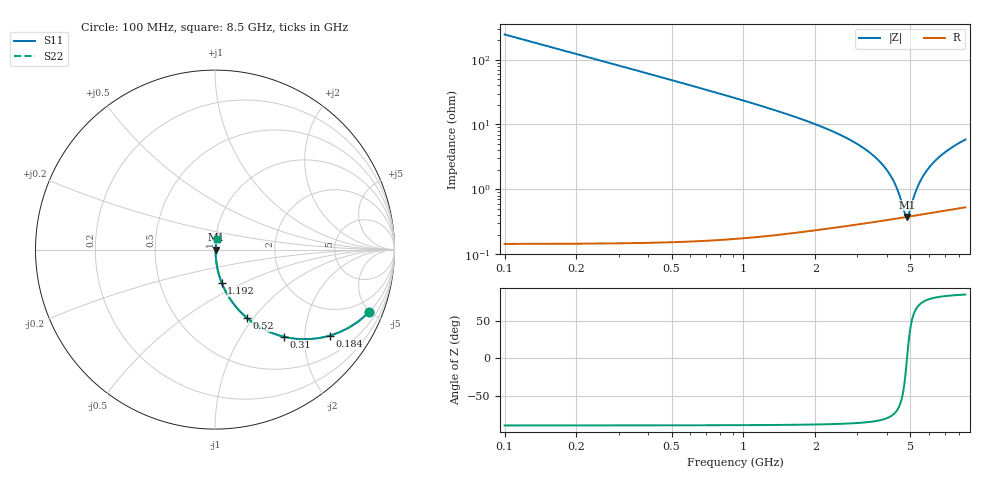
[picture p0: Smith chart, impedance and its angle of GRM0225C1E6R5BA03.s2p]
!Murata Part Number: GRM0225C1E6R5BA03
!These Parameters are Measured in Series Mode Connection
!Data Generated on Mar 30, 2021
!  o--ll--o
!Port1  Port2
!  o------o
!Operation Temp=25[degC], DC Bias Voltage=0[V]
!Freq. Start=100[MHz] Stop=9[GHz] 401[Steps]
# Hz S RI R 50
!Freq.(Hz) S11(Real) S11(Imag) S21(Real) S21(Imag) S12(Real) S12(Imag) S22(Real) S22(Imag)
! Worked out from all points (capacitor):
!   401 points, 100 MHz to 8.5 GHz, reference 50 ohm
!   read as one part in series: C = 6.5 pF near 142 MHz
!   lowest |Z| = 375 mohm at 4.846 GHz (marker M1)
!   series resonance near 4.841 GHz, so ESL is about 170 pH
!   S11 on the Smith chart (normalised r, x): 100 MHz: 1.00, -4.89; 184 MHz: 1.00, -2.66; 310 MHz: 1.00, -1.57; 520 MHz: 1.00, -0.93; 1.192 GHz: 1.00, -0.38; 8.5 GHz: 1.01, +0.12
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1e8  0.8568 -0.35  0.1432 0.35  0.1432 0.35  0.8568 -0.35
1.84e8  0.6382 -0.48  0.3618 0.48  0.3618 0.48  0.6382 -0.48
3.1e8  0.3823 -0.485  0.6177 0.485  0.6177 0.485  0.3823 -0.485
4.15e8  0.2558 -0.435  0.7442 0.435  0.7442 0.435  0.2558 -0.435
5.2e8  0.1787 -0.3814  0.8213 0.3814  0.8213 0.3814  0.1787 -0.3814
7.72e8  0.0882 -0.281  0.9118 0.281  0.9118 0.281  0.0882 -0.281
1.192e9  0.0373 -0.1848  0.9627 0.1848  0.9627 0.1848  0.0373 -0.1848
1.507e9  0.0228 -0.1425  0.9772 0.1425  0.9772 0.1425  0.0228 -0.1425
2.914e9  0.00559 -0.0526  0.9944 0.0526  0.9944 0.0526  0.00559 -0.0526
3.754e9  0.00387 -0.0255  0.9961 0.0255  0.9961 0.0255  0.00387 -0.0255
4.048e9  0.00368 -0.0178  0.9963 0.0178  0.9963 0.0178  0.00368 -0.0178
4.3e9  0.00362 -0.0118  0.9964 0.0118  0.9964 0.0118  0.00362 -0.0118
4.489e9  0.00362 -0.00748  0.9964 0.00748  0.9964 0.00748  0.00362 -0.00748
4.741e9  0.00369 -0.00207  0.9963 0.00207  0.9963 0.00207  0.00369 -0.00207
4.846e9  0.00373 9.25e-05  0.9963 -9.25e-05  0.9963 -9.25e-05  0.00373 9.25e-05
4.93e9  0.00377 0.00179  0.9962 -0.00179  0.9962 -0.00179  0.00377 0.00179
5.161e9  0.00392 0.0063  0.9961 -0.0063  0.9961 -0.0063  0.00392 0.0063
5.308e9  0.00403 0.00907  0.996 -0.00907  0.996 -0.00907  0.00403 0.00907
5.707e9  0.00439 0.0162  0.9956 -0.0162  0.9956 -0.0162  0.00439 0.0162
6.295e9  0.00506 0.026  0.9949 -0.026  0.9949 -0.026  0.00506 0.026
7.114e9  0.0062 0.0385  0.9938 -0.0385  0.9938 -0.0385  0.0062 0.0385
8.5e9  0.00856 0.0574  0.9914 -0.0574  0.9914 -0.0574  0.00856 0.0574
